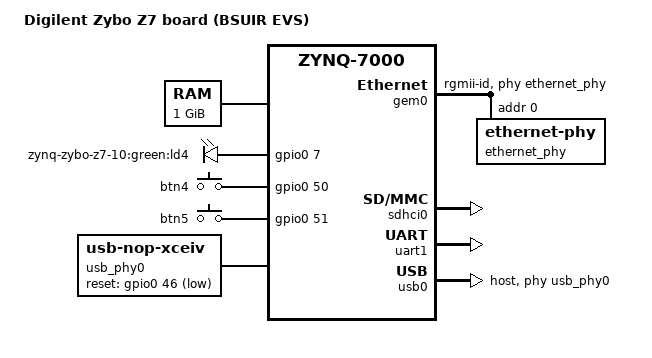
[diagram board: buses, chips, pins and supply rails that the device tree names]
#include <dt-bindings/gpio/gpio.h>

/include/ "system-conf.dtsi"
/ {
	model = "Digilent Zybo Z7 board (BSUIR EVS)";
	compatible = "digilent,zynq-zybo-z7", "xlnx,zynq-7000";

	aliases {
		ethernet0 = &gem0;
		serial0 = &uart1;
	};

	memory@0 {
		device_type = "memory";
		reg = <0x0 0x40000000>;
	};

	chosen {
		bootargs = "";
		stdout-path = "serial0:115200n8";
	};

	gpio-leds {
		compatible = "gpio-leds";

		led-ld4 {
			label = "zynq-zybo-z7-10:green:ld4";
			gpios = <&gpio0 7 GPIO_ACTIVE_HIGH>;
			linux,default-trigger = "heartbeat";
		};
	};

	gpio-keys {
		compatible = "gpio-keys";
		#address-cells = <1>;
		#size-cells = <0>;
		autorepeat;
		btn4 {
			label = "btn4";
			gpios = <&gpio0 50 0>;
			linux,code = <108>; /* down */
			gpio-key,wakeup;
			autorepeat;
		};
		btn5 {
			label = "btn5";
			gpios = <&gpio0 51 0>;
			linux,code = <103>; /* up */
			gpio-key,wakeup;
			autorepeat;
		};
	};

	usb_phy0: phy0 {
		#phy-cells = <0>;
		compatible = "usb-nop-xceiv";
		reset-gpios = <&gpio0 46 GPIO_ACTIVE_LOW>;
	};
};

&gem0 {
	status = "okay";
	phy-mode = "rgmii-id";
	phy-handle = <&ethernet_phy>;

	ethernet_phy: ethernet-phy@0 {
		reg = <0>;
		device_type = "ethernet-phy";
	};
};

&sdhci0 {
	u-boot,dm-pre-reloc;
	status = "okay";
};

/*
&sdhci0 {
	status = "okay";
    max-frequency = <20000000>;
    disable-wp;
    no-1-8-v;
};
*/

&uart1 {
	status = "okay";
};

&usb0 {
	status = "okay";
	dr_mode = "host";
	usb-phy = <&usb_phy0>;
};

